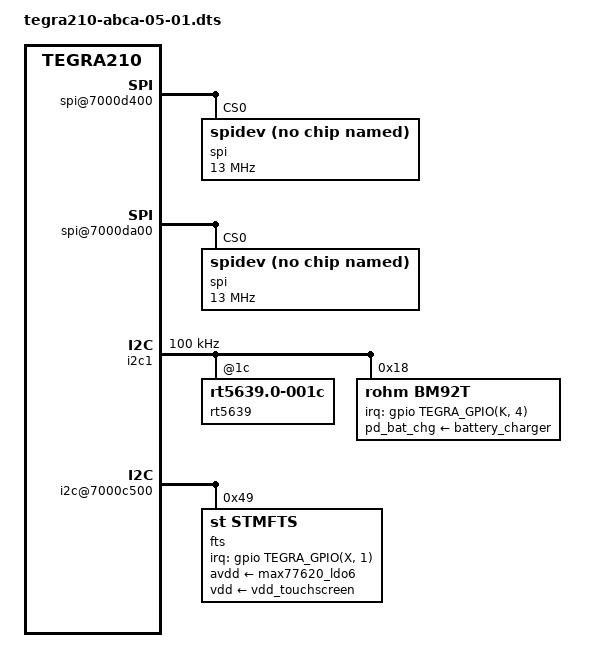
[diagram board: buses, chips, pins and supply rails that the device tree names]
/*
 * arch/arm64/boot/dts/tegra210-abca-05-01.dts
 *
 * Copyright (c) 2014-2016, NVIDIA CORPORATION.  All rights reserved.
 *
 * This program is free software; you can redistribute it and/or modify
 * it under the terms of the GNU General Public License as published by
 * the Free Software Foundation; version 2 of the License.
 *
 * This program is distributed in the hope that it will be useful, but WITHOUT
 * ANY WARRANTY; without even the implied warranty of MERCHANTABILITY or
 * FITNESS FOR A PARTICULAR PURPOSE.  See the GNU General Public License for
 * more details.
 *
 */

#include "tegra210-abca-common.dtsi"
#include "tegra210-abca-common-disp.dtsi"
#include "abca-platforms/tegra210-abca-power-tree-04-00.dtsi"
#include "abca-platforms/tegra210-abca-05-01-emc.dtsi"
#include "abca-platforms/tegra210-abca-sensor-04-00.dtsi"
#include "abca-platforms/tegra210-abca-powermon-05-00.dtsi"

/ {
	nvidia,dtsfilename = __FILE__;

	extcon {
		extcon@0 {
			status = "disabled";
		};
	};

	xudc@700d0000 {
		extcon-cables = <&bm92t 1>;
		extcon-cable-names = "vbus";
	};

	xusb@70090000 {
//		extcon-cables = <&bm92t 0>;
//		extcon-cable-names = "id";
	};

	spi@7000d400 {
		status = "okay";
		spi@0 {
			compatible = "spidev";
			reg = <0>;
			spi-max-frequency = <13000000>;
		};
	};
	spi@7000da00 {
		status = "okay";
		spi@0 {
			compatible = "spidev";
			reg = <0>;
			spi-max-frequency = <13000000>;
		};
	};

	i2c1: i2c@7000c000 {
		clock-frequency = <100000>;
	};

	i2c@7000c000 {
		rt5639: rt5639.0-001c@1c {
			sel_jd_source = <4>;
		};
		bm92t: bm92t@18 {
			compatible = "rohm,bm92t";
			reg = <0x18>;
			interrupt-parent = <&gpio>;
			interrupts = <TEGRA_GPIO(K, 4) 0x01>;
			#extcon-cells = <1>;
			pd_bat_chg-supply = <&battery_charger>;
		};
	};

	i2c@7000c500 {
		fts@49 {
			compatible = "st,stmfts";
			reg = <0x49>;
			interrupt-parent = <&gpio>;
			interrupts = <TEGRA_GPIO(X, 1) IRQ_TYPE_LEVEL_LOW>;
			interrupt-enable-reg = <0x2c 0x48>;
			avdd-supply = <&max77620_ldo6>;
			vdd-supply = <&vdd_touchscreen>;
			touchscreen-size-x = <1280>;
			touchscreen-size-y = <720>;
		};
	};

	/delete-node/ psy_extcon_xudc;
	/delete-node/ usb_cd@7009f000;

};
